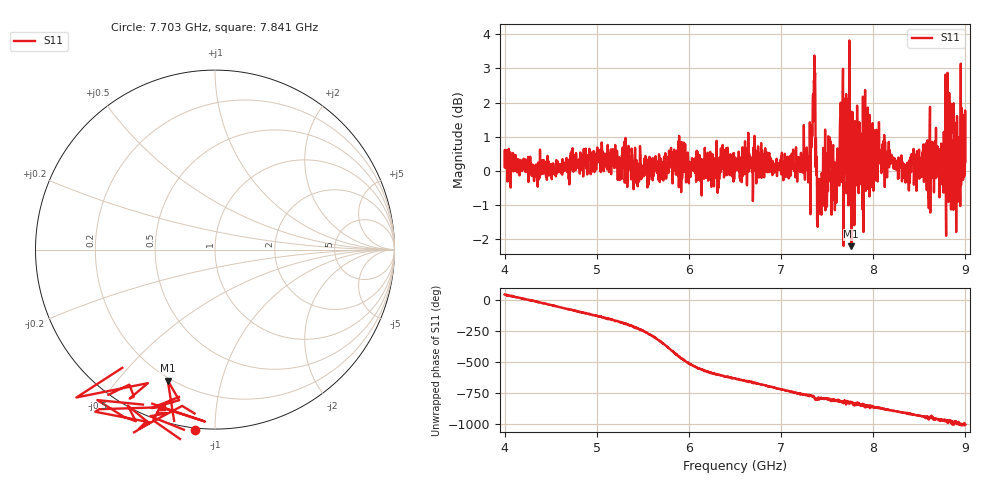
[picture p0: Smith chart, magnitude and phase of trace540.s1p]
! Created with skrf 1.8.0 (http://scikit-rf.org).
# Hz S RI R 50.0
!freq ReS11 ImS11
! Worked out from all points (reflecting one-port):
!   1601 points, 4 GHz to 9 GHz, reference 50 ohm
!   lowest |S11| = -2.2 dB at 7.762 GHz (marker M1), VSWR 7.91, Z = 9.36 - j34.3 ohm
!   phase of S11 starts at 46 deg and turns -1052 deg over the sweep
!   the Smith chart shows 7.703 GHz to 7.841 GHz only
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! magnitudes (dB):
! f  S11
! 4 GHz  0.1
! 4.625 GHz  -0.1
! 5.25 GHz  -0.3
! 5.875 GHz  0.0
! 6.5 GHz  0.0
! 7.125 GHz  0.5
! 7.294 GHz  -0.3
! 7.316 GHz  0.3
! 7.347 GHz  2.2
! 7.369 GHz  2.9
! 7.4 GHz  -0.6
! 7.416 GHz  -1.3
! 7.512 GHz  1.0
! 7.609 GHz  0.4
! 7.669 GHz  2.5
! 7.75 GHz  0.0
! 7.762 GHz  -2.2
! 7.784 GHz  -1.0
! 7.828 GHz  0.9
! 7.875 GHz  0.2
! 7.928 GHz  1.3
! 7.981 GHz  -0.3
! 8.375 GHz  -0.3
! 8.766 GHz  1.1
! 8.819 GHz  0.3
! 8.844 GHz  -1.1
! 8.972 GHz  0.3
! 9 GHz  0.3
